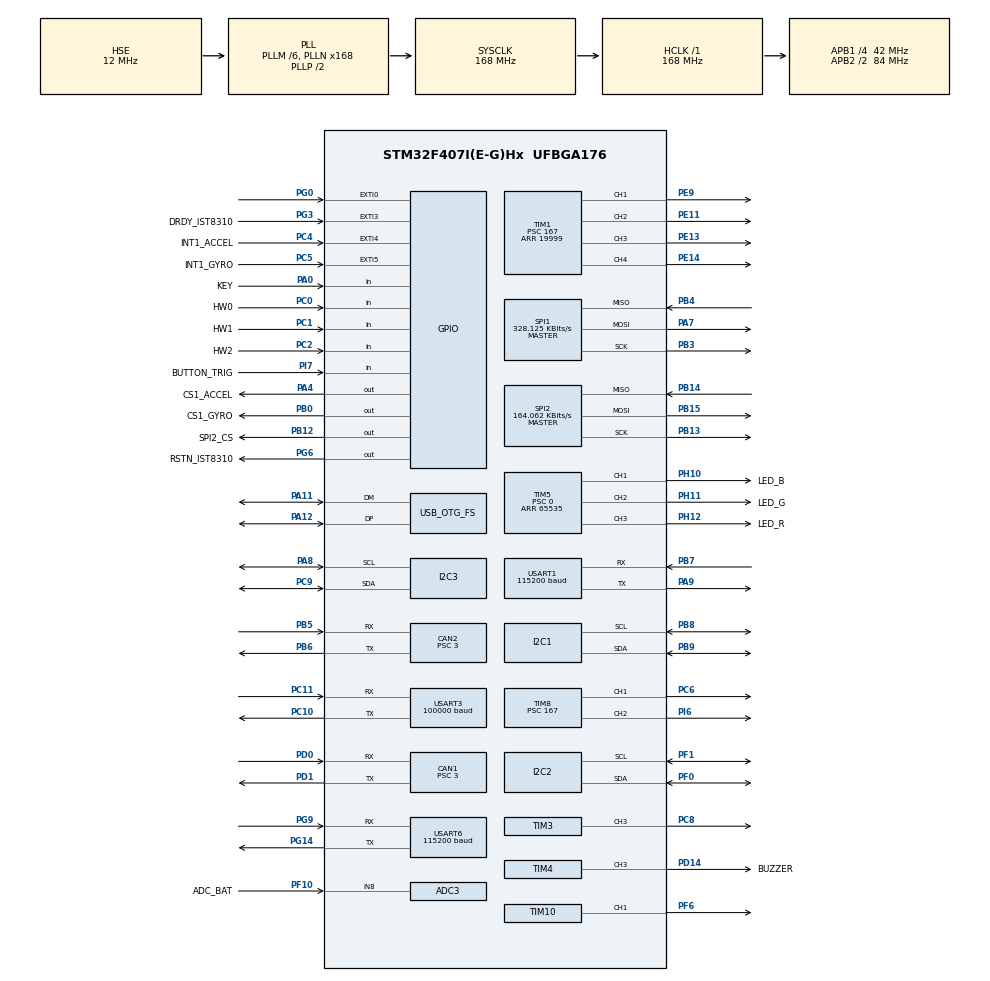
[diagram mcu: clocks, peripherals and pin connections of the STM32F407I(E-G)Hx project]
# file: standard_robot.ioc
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ADC1.Channel-0\#ChannelRegularConversion=ADC_CHANNEL_TEMPSENSOR
ADC1.ClockPrescaler=ADC_CLOCK_SYNC_PCLK_DIV6
ADC1.NbrOfConversionFlag=1
ADC1.Rank-0\#ChannelRegularConversion=1
ADC1.SamplingTime-0\#ChannelRegularConversion=ADC_SAMPLETIME_3CYCLES
ADC1.master=1
ADC3.Channel-0\#ChannelRegularConversion=ADC_CHANNEL_8
ADC3.ClockPrescaler=ADC_CLOCK_SYNC_PCLK_DIV6
ADC3.NbrOfConversionFlag=1
ADC3.Rank-0\#ChannelRegularConversion=1
ADC3.SamplingTime-0\#ChannelRegularConversion=ADC_SAMPLETIME_3CYCLES
CAN1.BS1=CAN_BS1_10TQ
CAN1.BS2=CAN_BS2_3TQ
CAN1.CalculateTimeQuantum=71.42857142857143
CAN1.Prescaler=3
CAN2.BS1=CAN_BS1_10TQ
CAN2.BS2=CAN_BS2_3TQ
CAN2.CalculateTimeQuantum=71.42857142857143
CAN2.Prescaler=3
Dma.I2C2_TX.2.Direction=DMA_MEMORY_TO_PERIPH
Dma.I2C2_TX.2.FIFOMode=DMA_FIFOMODE_DISABLE
Dma.I2C2_TX.2.Instance=DMA1_Stream7
Dma.I2C2_TX.2.MemDataAlignment=DMA_MDATAALIGN_BYTE
Dma.I2C2_TX.2.MemInc=DMA_MINC_ENABLE
Dma.I2C2_TX.2.Mode=DMA_NORMAL
Dma.I2C2_TX.2.PeriphDataAlignment=DMA_PDATAALIGN_BYTE
Dma.I2C2_TX.2.PeriphInc=DMA_PINC_DISABLE
Dma.I2C2_TX.2.Priority=DMA_PRIORITY_HIGH
Dma.Request0=SPI1_RX
Dma.Request1=SPI1_TX
Dma.Request2=I2C2_TX
Dma.Request3=USART3_RX
Dma.Request4=USART6_RX
Dma.Request5=USART6_TX
Dma.Request6=USART1_TX
Dma.Request7=USART1_RX
Dma.SPI1_RX.0.Direction=DMA_PERIPH_TO_MEMORY
Dma.SPI1_RX.0.FIFOMode=DMA_FIFOMODE_DISABLE
Dma.SPI1_RX.0.Instance=DMA2_Stream2
Dma.SPI1_RX.0.MemDataAlignment=DMA_MDATAALIGN_BYTE
Dma.SPI1_RX.0.MemInc=DMA_MINC_ENABLE
Dma.SPI1_RX.0.Mode=DMA_NORMAL
Dma.SPI1_RX.0.PeriphDataAlignment=DMA_PDATAALIGN_BYTE
Dma.SPI1_RX.0.PeriphInc=DMA_PINC_DISABLE
Dma.SPI1_RX.0.Priority=DMA_PRIORITY_VERY_HIGH
Dma.SPI1_TX.1.Direction=DMA_MEMORY_TO_PERIPH
Dma.SPI1_TX.1.FIFOMode=DMA_FIFOMODE_DISABLE
Dma.SPI1_TX.1.Instance=DMA2_Stream3
Dma.SPI1_TX.1.MemDataAlignment=DMA_MDATAALIGN_BYTE
Dma.SPI1_TX.1.MemInc=DMA_MINC_ENABLE
Dma.SPI1_TX.1.Mode=DMA_NORMAL
Dma.SPI1_TX.1.PeriphDataAlignment=DMA_PDATAALIGN_BYTE
Dma.SPI1_TX.1.PeriphInc=DMA_PINC_DISABLE
Dma.SPI1_TX.1.Priority=DMA_PRIORITY_HIGH
Dma.USART1_RX.7.Direction=DMA_PERIPH_TO_MEMORY
Dma.USART1_RX.7.FIFOMode=DMA_FIFOMODE_DISABLE
Dma.USART1_RX.7.Instance=DMA2_Stream5
Dma.USART1_RX.7.MemDataAlignment=DMA_MDATAALIGN_BYTE
Dma.USART1_RX.7.MemInc=DMA_MINC_ENABLE
Dma.USART1_RX.7.Mode=DMA_NORMAL
Dma.USART1_RX.7.PeriphDataAlignment=DMA_PDATAALIGN_BYTE
Dma.USART1_RX.7.PeriphInc=DMA_PINC_DISABLE
Dma.USART1_RX.7.Priority=DMA_PRIORITY_MEDIUM
Dma.USART1_TX.6.Direction=DMA_MEMORY_TO_PERIPH
Dma.USART1_TX.6.FIFOMode=DMA_FIFOMODE_DISABLE
Dma.USART1_TX.6.Instance=DMA2_Stream7
Dma.USART1_TX.6.MemDataAlignment=DMA_MDATAALIGN_BYTE
Dma.USART1_TX.6.MemInc=DMA_MINC_ENABLE
Dma.USART1_TX.6.Mode=DMA_NORMAL
Dma.USART1_TX.6.PeriphDataAlignment=DMA_PDATAALIGN_BYTE
Dma.USART1_TX.6.PeriphInc=DMA_PINC_DISABLE
Dma.USART1_TX.6.Priority=DMA_PRIORITY_HIGH
Dma.USART3_RX.3.Direction=DMA_PERIPH_TO_MEMORY
Dma.USART3_RX.3.FIFOMode=DMA_FIFOMODE_DISABLE
Dma.USART3_RX.3.Instance=DMA1_Stream1
Dma.USART3_RX.3.MemDataAlignment=DMA_MDATAALIGN_BYTE
Dma.USART3_RX.3.MemInc=DMA_MINC_ENABLE
Dma.USART3_RX.3.Mode=DMA_NORMAL
Dma.USART3_RX.3.PeriphDataAlignment=DMA_PDATAALIGN_BYTE
Dma.USART3_RX.3.PeriphInc=DMA_PINC_DISABLE
Dma.USART3_RX.3.Priority=DMA_PRIORITY_HIGH
Dma.USART6_RX.4.Direction=DMA_PERIPH_TO_MEMORY
Dma.USART6_RX.4.FIFOMode=DMA_FIFOMODE_DISABLE
Dma.USART6_RX.4.Instance=DMA2_Stream1
Dma.USART6_RX.4.MemDataAlignment=DMA_MDATAALIGN_BYTE
Dma.USART6_RX.4.MemInc=DMA_MINC_ENABLE
Dma.USART6_RX.4.Mode=DMA_NORMAL
Dma.USART6_RX.4.PeriphDataAlignment=DMA_PDATAALIGN_BYTE
Dma.USART6_RX.4.PeriphInc=DMA_PINC_DISABLE
Dma.USART6_RX.4.Priority=DMA_PRIORITY_HIGH
Dma.USART6_TX.5.Direction=DMA_MEMORY_TO_PERIPH
Dma.USART6_TX.5.FIFOMode=DMA_FIFOMODE_DISABLE
Dma.USART6_TX.5.Instance=DMA2_Stream6
Dma.USART6_TX.5.MemDataAlignment=DMA_MDATAALIGN_BYTE
Dma.USART6_TX.5.MemInc=DMA_MINC_ENABLE
Dma.USART6_TX.5.Mode=DMA_NORMAL
Dma.USART6_TX.5.PeriphDataAlignment=DMA_PDATAALIGN_BYTE
Dma.USART6_TX.5.PeriphInc=DMA_PINC_DISABLE
Dma.USART6_TX.5.Priority=DMA_PRIORITY_MEDIUM
FREERTOS.INCLUDE_eTaskGetState=1
FREERTOS.INCLUDE_pcTaskGetTaskName=1
FREERTOS.INCLUDE_uxTaskGetStackHighWaterMark=1
FREERTOS.INCLUDE_vTaskCleanUpResources=1
FREERTOS.INCLUDE_vTaskDelayUntil=1
FREERTOS.INCLUDE_xEventGroupSetBitFromISR=1
FREERTOS.INCLUDE_xQueueGetMutexHolder=1
FREERTOS.INCLUDE_xSemaphoreGetMutexHolder=1
FREERTOS.INCLUDE_xTaskAbortDelay=1
FREERTOS.INCLUDE_xTaskGetCurrentTaskHandle=1
FREERTOS.INCLUDE_xTaskGetHandle=1
FREERTOS.INCLUDE_xTimerPendFunctionCall=1
FREERTOS.Tasks01=test,24,128,test_task,As weak,NULL,Dynamic,NULL,NULL
FREERTOS.configTOTAL_HEAP_SIZE=24576
I2C1.I2C_Mode=I2C_Fast
I2C2.I2C_Mode=I2C_Fast
I2C3.I2C_Mode=I2C_Fast
Mcu.Family=STM32F4
Mcu.Name=STM32F407I(E-G)Hx
Mcu.Package=UFBGA176
NVIC.CAN1_RX0_IRQn=true\:6\:0\:true\:false\:true\:true\:true\:true\:true
NVIC.CAN2_RX0_IRQn=true\:6\:0\:true\:false\:true\:true\:true\:true\:true
NVIC.DMA1_Stream1_IRQn=true\:5\:0\:true\:false\:false\:true\:false\:false\:true
NVIC.DMA1_Stream7_IRQn=true\:5\:0\:true\:false\:false\:true\:false\:true\:true
NVIC.DMA2_Stream1_IRQn=true\:5\:0\:true\:false\:true\:true\:false\:true\:true
NVIC.DMA2_Stream2_IRQn=true\:5\:0\:true\:false\:false\:true\:false\:true\:true
NVIC.DMA2_Stream3_IRQn=true\:5\:0\:true\:false\:false\:true\:false\:true\:true
NVIC.DMA2_Stream5_IRQn=true\:5\:0\:false\:false\:true\:true\:false\:true\:true
NVIC.DMA2_Stream6_IRQn=true\:5\:0\:true\:false\:true\:true\:false\:true\:true
NVIC.DMA2_Stream7_IRQn=true\:5\:0\:true\:false\:true\:true\:false\:true\:true
NVIC.EXTI0_IRQn=true\:6\:0\:true\:false\:true\:true\:true\:true\:true
NVIC.EXTI3_IRQn=true\:5\:0\:true\:false\:true\:true\:true\:true\:true
NVIC.EXTI4_IRQn=true\:5\:0\:true\:false\:true\:true\:true\:true\:true
NVIC.EXTI9_5_IRQn=true\:5\:0\:true\:false\:true\:true\:true\:true\:true
NVIC.OTG_FS_IRQn=true\:5\:0\:false\:false\:true\:true\:false\:true\:true
NVIC.PriorityGroup=NVIC_PRIORITYGROUP_4
NVIC.USART1_IRQn=true\:5\:0\:false\:false\:true\:true\:true\:true\:true
NVIC.USART3_IRQn=true\:4\:0\:true\:false\:false\:false\:true\:true\:true
NVIC.USART6_IRQn=true\:5\:0\:true\:false\:true\:true\:true\:true\:true
PA0-WKUP.GPIO_Label=KEY
PA0-WKUP.GPIO_PuPd=GPIO_PULLUP
PA0-WKUP.Signal=GPIO_Input
PA11.Mode=Device_Only
PA11.Signal=USB_OTG_FS_DM
PA12.Mode=Device_Only
PA12.Signal=USB_OTG_FS_DP
PA13.Mode=Serial_Wire
PA13.Signal=SYS_JTMS-SWDIO
PA14.Mode=Serial_Wire
PA14.Signal=SYS_JTCK-SWCLK
PA4.GPIO_Label=CS1_ACCEL
PA4.GPIO_PuPd=GPIO_PULLUP
PA4.GPIO_Speed=GPIO_SPEED_FREQ_HIGH
PA4.PinState=GPIO_PIN_SET
PA4.Signal=GPIO_Output
PA7.GPIO_PuPd=GPIO_PULLUP
PA7.Mode=Full_Duplex_Master
PA7.Signal=SPI1_MOSI
PA8.Mode=I2C
PA8.Signal=I2C3_SCL
PA9.Mode=Asynchronous
PA9.Signal=USART1_TX
PB0.GPIO_Label=CS1_GYRO
PB0.GPIO_PuPd=GPIO_PULLUP
PB0.GPIO_Speed=GPIO_SPEED_FREQ_HIGH
PB0.PinState=GPIO_PIN_SET
PB0.Signal=GPIO_Output
PB12.GPIO_Label=SPI2_CS
PB12.GPIO_PuPd=GPIO_PULLUP
PB12.GPIO_Speed=GPIO_SPEED_FREQ_MEDIUM
PB12.PinState=GPIO_PIN_SET
PB12.Signal=GPIO_Output
PB13.GPIO_PuPd=GPIO_PULLUP
PB13.Mode=Full_Duplex_Master
PB13.Signal=SPI2_SCK
PB14.GPIO_PuPd=GPIO_PULLUP
PB14.Mode=Full_Duplex_Master
PB14.Signal=SPI2_MISO
PB15.GPIO_PuPd=GPIO_PULLUP
PB15.Mode=Full_Duplex_Master
PB15.Signal=SPI2_MOSI
PB3.GPIO_PuPd=GPIO_PULLUP
PB3.Mode=Full_Duplex_Master
PB3.Signal=SPI1_SCK
PB4.GPIO_PuPd=GPIO_PULLUP
PB4.Mode=Full_Duplex_Master
PB4.Signal=SPI1_MISO
PB5.Mode=Slave
PB5.Signal=CAN2_RX
PB6.Mode=Slave
PB6.Signal=CAN2_TX
PB7.Mode=Asynchronous
PB7.Signal=USART1_RX
PB8.Mode=I2C
PB8.Signal=I2C1_SCL
PB9.Mode=I2C
PB9.Signal=I2C1_SDA
PC0.GPIO_Label=HW0
PC0.Signal=GPIO_Input
PC1.GPIO_Label=HW1
PC1.Signal=GPIO_Input
PC10.Mode=Asynchronous
PC10.Signal=USART3_TX
PC11.Mode=Asynchronous
PC11.Signal=USART3_RX
PC2.GPIO_Label=HW2
PC2.Signal=GPIO_Input
PC4.GPIO_Label=INT1_ACCEL
PC4.GPIO_ModeDefaultEXTI=GPIO_MODE_IT_FALLING
PC4.GPIO_PuPd=GPIO_PULLUP
PC4.Signal=GPXTI4
PC5.GPIO_Label=INT1_GYRO
PC5.GPIO_ModeDefaultEXTI=GPIO_MODE_IT_FALLING
PC5.GPIO_PuPd=GPIO_PULLUP
PC5.Signal=GPXTI5
PC6.GPIO_PuPd=GPIO_PULLUP
PC6.GPIO_Speed=GPIO_SPEED_FREQ_HIGH
PC6.Signal=S_TIM8_CH1
PC8.GPIO_PuPd=GPIO_PULLUP
PC8.GPIO_Speed=GPIO_SPEED_FREQ_HIGH
PC8.Signal=S_TIM3_CH3
PC9.Mode=I2C
PC9.Signal=I2C3_SDA
PD0.Mode=Master
PD0.Signal=CAN1_RX
PD1.Mode=Master
PD1.Signal=CAN1_TX
PD14.GPIO_Label=BUZZER
PD14.GPIO_PuPd=GPIO_PULLUP
PD14.GPIO_Speed=GPIO_SPEED_FREQ_VERY_HIGH
PD14.Signal=S_TIM4_CH3
PE11.GPIO_PuPd=GPIO_PULLUP
PE11.GPIO_Speed=GPIO_SPEED_FREQ_HIGH
PE11.Signal=S_TIM1_CH2
PE13.GPIO_PuPd=GPIO_PULLUP
PE13.GPIO_Speed=GPIO_SPEED_FREQ_HIGH
PE13.Signal=S_TIM1_CH3
PE14.GPIO_PuPd=GPIO_PULLUP
PE14.GPIO_Speed=GPIO_SPEED_FREQ_HIGH
PE14.Signal=S_TIM1_CH4
PE9.GPIO_PuPd=GPIO_PULLUP
PE9.GPIO_Speed=GPIO_SPEED_FREQ_HIGH
PE9.Signal=S_TIM1_CH1
PF0.Mode=I2C
PF0.Signal=I2C2_SDA
PF1.Mode=I2C
PF1.Signal=I2C2_SCL
PF10.GPIO_Label=ADC_BAT
PF10.Mode=IN8
PF10.Signal=ADC3_IN8
PF6.GPIO_PuPd=GPIO_PULLUP
PF6.GPIO_Speed=GPIO_SPEED_FREQ_HIGH
PF6.Signal=S_TIM10_CH1
PG0.GPIO_ModeDefaultEXTI=GPIO_MODE_IT_FALLING
PG0.GPIO_PuPd=GPIO_PULLUP
PG0.Signal=GPXTI0
PG14.Mode=Asynchronous
PG14.Signal=USART6_TX
PG3.GPIO_Label=DRDY_IST8310
PG3.GPIO_ModeDefaultEXTI=GPIO_MODE_IT_FALLING
PG3.GPIO_PuPd=GPIO_PULLUP
PG3.Signal=GPXTI3
PG6.GPIO_Label=RSTN_IST8310
PG6.GPIO_PuPd=GPIO_PULLUP
PG6.GPIO_Speed=GPIO_SPEED_FREQ_MEDIUM
PG6.PinState=GPIO_PIN_SET
PG6.Signal=GPIO_Output
PG9.Mode=Asynchronous
PG9.Signal=USART6_RX
PH0-OSC_IN.Mode=HSE-External-Oscillator
PH0-OSC_IN.Signal=RCC_OSC_IN
PH1-OSC_OUT.Mode=HSE-External-Oscillator
PH1-OSC_OUT.Signal=RCC_OSC_OUT
PH10.GPIO_Label=LED_B
PH10.GPIO_PuPd=GPIO_PULLUP
PH10.GPIO_Speed=GPIO_SPEED_FREQ_HIGH
PH10.Signal=S_TIM5_CH1
PH11.GPIO_Label=LED_G
PH11.GPIO_PuPd=GPIO_PULLUP
PH11.GPIO_Speed=GPIO_SPEED_FREQ_HIGH
PH11.Signal=S_TIM5_CH2
PH12.GPIO_Label=LED_R
PH12.GPIO_PuPd=GPIO_PULLUP
PH12.GPIO_Speed=GPIO_SPEED_FREQ_HIGH
PH12.Signal=S_TIM5_CH3
PI6.GPIO_PuPd=GPIO_PULLUP
PI6.GPIO_Speed=GPIO_SPEED_FREQ_HIGH
PI6.Signal=S_TIM8_CH2
PI7.GPIO_Label=BUTTON_TRIG
PI7.GPIO_PuPd=GPIO_PULLUP
PI7.Signal=GPIO_Input
ProjectManager.HeapSize=0x2000
ProjectManager.StackSize=0x2000
ProjectManager.TargetToolchain=MDK-ARM V5
RCC.48MHZClocksFreq_Value=48000000
RCC.AHBFreq_Value=168000000
RCC.APB1CLKDivider=RCC_HCLK_DIV4
RCC.APB1Freq_Value=42000000
RCC.APB1TimFreq_Value=84000000
RCC.APB2CLKDivider=RCC_HCLK_DIV2
RCC.APB2Freq_Value=84000000
RCC.APB2TimFreq_Value=168000000
RCC.CortexFreq_Value=168000000
RCC.HCLKFreq_Value=168000000
RCC.HSE_VALUE=12000000
RCC.HSI_VALUE=16000000
RCC.LSE_VALUE=32768
RCC.PLLM=6
RCC.PLLN=168
RCC.PLLQ=7
RCC.RCC_RTC_Clock_SourceVirtual=RCC_RTCCLKSOURCE_HSE_DIV30
RCC.RCC_RTC_Clock_Source_FROM_HSE=RCC_RTCCLKSOURCE_HSE_DIV30
RCC.SYSCLKFreq_VALUE=168000000
RCC.SYSCLKSource=RCC_SYSCLKSOURCE_PLLCLK
RCC.VCOOutputFreq_Value=336000000
RTC.AsynchPrediv=124
RTC.SynchPrediv=3199
SH.S_TIM10_CH1.0=TIM10_CH1,PWM Generation1 CH1
SH.S_TIM1_CH1.0=TIM1_CH1,PWM Generation1 CH1
SH.S_TIM1_CH2.0=TIM1_CH2,PWM Generation2 CH2
SH.S_TIM1_CH3.0=TIM1_CH3,PWM Generation3 CH3
SH.S_TIM1_CH4.0=TIM1_CH4,PWM Generation4 CH4
SH.S_TIM3_CH3.0=TIM3_CH3,PWM Generation3 CH3
SH.S_TIM4_CH3.0=TIM4_CH3,PWM Generation3 CH3
SH.S_TIM5_CH1.0=TIM5_CH1,PWM Generation1 CH1
SH.S_TIM5_CH2.0=TIM5_CH2,PWM Generation2 CH2
SH.S_TIM5_CH3.0=TIM5_CH3,PWM Generation3 CH3
SH.S_TIM8_CH1.0=TIM8_CH1,PWM Generation1 CH1
SH.S_TIM8_CH2.0=TIM8_CH2,PWM Generation2 CH2
SPI1.BaudRatePrescaler=SPI_BAUDRATEPRESCALER_256
SPI1.CLKPhase=SPI_PHASE_2EDGE
SPI1.CLKPolarity=SPI_POLARITY_HIGH
SPI1.CalculateBaudRate=328.125 KBits/s
SPI1.Direction=SPI_DIRECTION_2LINES
SPI1.Mode=SPI_MODE_MASTER
SPI1.VirtualType=VM_MASTER
SPI2.BaudRatePrescaler=SPI_BAUDRATEPRESCALER_256
SPI2.CLKPhase=SPI_PHASE_2EDGE
SPI2.CLKPolarity=SPI_POLARITY_HIGH
SPI2.CalculateBaudRate=164.062 KBits/s
SPI2.Direction=SPI_DIRECTION_2LINES
SPI2.Mode=SPI_MODE_MASTER
SPI2.VirtualType=VM_MASTER
TIM1.Channel-PWM\ Generation1\ CH1=TIM_CHANNEL_1
TIM1.Channel-PWM\ Generation2\ CH2=TIM_CHANNEL_2
TIM1.Channel-PWM\ Generation3\ CH3=TIM_CHANNEL_3
TIM1.Channel-PWM\ Generation4\ CH4=TIM_CHANNEL_4
TIM1.Period=19999
TIM1.Prescaler=167
TIM1.Pulse-PWM\ Generation1\ CH1=1000
TIM1.Pulse-PWM\ Generation2\ CH2=1000
TIM1.Pulse-PWM\ Generation3\ CH3=1000
TIM1.Pulse-PWM\ Generation4\ CH4=1000
TIM10.Channel=TIM_CHANNEL_1
TIM10.Period=4999
TIM3.Channel-PWM\ Generation3\ CH3=TIM_CHANNEL_3
TIM3.Period=8399
TIM4.Channel-PWM\ Generation3\ CH3=TIM_CHANNEL_3
TIM4.Period=65535
TIM4.Prescaler=167
TIM5.Channel-PWM\ Generation1\ CH1=TIM_CHANNEL_1
TIM5.Channel-PWM\ Generation2\ CH2=TIM_CHANNEL_2
TIM5.Channel-PWM\ Generation3\ CH3=TIM_CHANNEL_3
TIM5.Period=65535
TIM5.Prescaler=0
TIM8.Channel-PWM\ Generation1\ CH1=TIM_CHANNEL_1
TIM8.Channel-PWM\ Generation2\ CH2=TIM_CHANNEL_2
TIM8.Period=19999
TIM8.Prescaler=167
TIM8.Pulse-PWM\ Generation1\ CH1=1000
TIM8.Pulse-PWM\ Generation2\ CH2=1000
USART1.BaudRate=115200
USART1.VirtualMode=VM_ASYNC
USART3.BaudRate=100000
USART3.Parity=PARITY_EVEN
USART3.VirtualMode=VM_ASYNC
USART6.BaudRate=115200
USART6.VirtualMode=VM_ASYNC
USB_DEVICE.CLASS_NAME_FS=CDC
USB_DEVICE.VirtualMode-CDC_FS=Cdc
USB_DEVICE.VirtualModeFS=Cdc_FS
USB_OTG_FS.VirtualMode=Device_Only
VP_ADC1_TempSens_Input.Mode=IN-TempSens
VP_ADC1_Vref_Input.Mode=IN-Vrefint
VP_CRC_VS_CRC.Mode=CRC_Activate
VP_FREERTOS_VS_CMSIS_V1.Mode=CMSIS_V1
VP_RNG_VS_RNG.Mode=RNG_Activate
VP_RTC_VS_RTC_Activate.Mode=RTC_Enabled
VP_TIM10_VS_ClockSourceINT.Mode=Enable_Timer
VP_TIM1_VS_ClockSourceINT.Mode=Internal
VP_TIM3_VS_ClockSourceINT.Mode=Internal
VP_TIM4_VS_ClockSourceINT.Mode=Internal
VP_TIM5_VS_ClockSourceINT.Mode=Internal
VP_TIM8_VS_ClockSourceINT.Mode=Internal
VP_USB_DEVICE_VS_USB_DEVICE_CDC_FS.Mode=CDC_FS
board=custom

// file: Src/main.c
/* USER CODE BEGIN Header */
/**
  ******************************************************************************
  * @file           : main.c
  * @brief          : Main program body
  ******************************************************************************
  * @attention
  *
  * <h2><center>&copy; Copyright (c) 2019 STMicroelectronics.
  * All rights reserved.</center></h2>
  *
  * This software component is licensed by ST under Ultimate Liberty license
  * SLA0044, the "License"; You may not use this file except in compliance with
  * the License. You may obtain a copy of the License at:
  *                             www.st.com/SLA0044
  *
  ******************************************************************************
  */
/* USER CODE END Header */

#include "main.h"
#include "cmsis_os.h"
#include "adc.h"
#include "can.h"
#include "crc.h"
#include "dma.h"
#include "i2c.h"
#include "rng.h"
#include "rtc.h"
#include "spi.h"
#include "tim.h"
#include "usart.h"
#include "usb_device.h"
#include "gpio.h"

/* USER CODE BEGIN Includes */
#include "bsp_can.h"
#include "bsp_delay.h"
#include "bsp_usart.h"
#include "remote_control.h"
#include "bsp_dwt.h"
#include "calibrate_task.h"
#include "chassis_task.h"
#include "detect_task.h"
#include "gimbal_task.h"
#include "INS_task.h"
#include "led_flow_task.h"
#include "oled_task.h"
#include "referee_usart_task.h"
#include "usb_task.h"
#include "voltage_task.h"
#include "bsp_usart.h"
#include "hipnuc_rx.h"	//陀螺仪接收

/* USER CODE END Includes */

void SystemClock_Config(void);
void MX_FREERTOS_Init(void);

int main(void)
{

  /* MCU Configuration--------------------------------------------------------*/

  /* Reset of all peripherals, Initializes the Flash interface and the Systick. */
  HAL_Init();

  /* Configure the system clock */
  SystemClock_Config();

  /* Initialize all configured peripherals */
  MX_GPIO_Init();
  MX_DMA_Init();
  MX_ADC1_Init();
  MX_ADC3_Init();
  MX_CAN1_Init();
  MX_CAN2_Init();
  MX_I2C1_Init();
  MX_SPI1_Init();
  MX_TIM4_Init();
  MX_TIM5_Init();
  MX_USART3_UART_Init();
  MX_TIM8_Init();
  MX_CRC_Init();
  MX_RNG_Init();
  MX_I2C2_Init();
  MX_I2C3_Init();
  MX_RTC_Init();
  MX_SPI2_Init();
  MX_TIM1_Init();
  MX_TIM3_Init();
  MX_TIM10_Init();
  MX_USART1_UART_Init();
  MX_USART6_UART_Init();
  /* USER CODE BEGIN 2 */

	MX_USB_DEVICE_Init();
    delay_init();
    can_filter_init();
//    cali_param_init();
    remote_control_init();
//	hipnuc_rx_init();      //陀螺仪串口初始化
//  usart1_tx_dma_init();
//	vision_init();

	DWT_Init(168);
    while (BMI088_init(&hspi1,0) != BMI088_NO_ERROR)
    {
        ;
    }

  /* USER CODE END 2 */

  /* Call init function for freertos objects (in freertos.c) */
  MX_FREERTOS_Init();

  /* Start scheduler */
  osKernelStart();

  /* We should never get here as control is now taken by the scheduler */

  /* Infinite loop */
  while (1)
  {

  }
}

void SystemClock_Config(void)
{
  RCC_OscInitTypeDef RCC_OscInitStruct = {0};
  RCC_ClkInitTypeDef RCC_ClkInitStruct = {0};
  RCC_PeriphCLKInitTypeDef PeriphClkInitStruct = {0};

  /** Configure the main internal regulator output voltage
  */
  __HAL_RCC_PWR_CLK_ENABLE();
  __HAL_PWR_VOLTAGESCALING_CONFIG(PWR_REGULATOR_VOLTAGE_SCALE1);
  /** Initializes the CPU, AHB and APB busses clocks
  */
  RCC_OscInitStruct.OscillatorType = RCC_OSCILLATORTYPE_HSE;
  RCC_OscInitStruct.HSEState = RCC_HSE_ON;
  RCC_OscInitStruct.PLL.PLLState = RCC_PLL_ON;
  RCC_OscInitStruct.PLL.PLLSource = RCC_PLLSOURCE_HSE;
  RCC_OscInitStruct.PLL.PLLM = 6;
  RCC_OscInitStruct.PLL.PLLN = 168;
  RCC_OscInitStruct.PLL.PLLP = RCC_PLLP_DIV2;
  RCC_OscInitStruct.PLL.PLLQ = 7;
  if (HAL_RCC_OscConfig(&RCC_OscInitStruct) != HAL_OK)
  {
    Error_Handler();
  }
  /** Initializes the CPU, AHB and APB busses clocks
  */
  RCC_ClkInitStruct.ClockType = RCC_CLOCKTYPE_HCLK|RCC_CLOCKTYPE_SYSCLK
                              |RCC_CLOCKTYPE_PCLK1|RCC_CLOCKTYPE_PCLK2;
  RCC_ClkInitStruct.SYSCLKSource = RCC_SYSCLKSOURCE_PLLCLK;
  RCC_ClkInitStruct.AHBCLKDivider = RCC_SYSCLK_DIV1;
  RCC_ClkInitStruct.APB1CLKDivider = RCC_HCLK_DIV4;
  RCC_ClkInitStruct.APB2CLKDivider = RCC_HCLK_DIV2;

  if (HAL_RCC_ClockConfig(&RCC_ClkInitStruct, FLASH_LATENCY_5) != HAL_OK)
  {
    Error_Handler();
  }
  PeriphClkInitStruct.PeriphClockSelection = RCC_PERIPHCLK_RTC;
  PeriphClkInitStruct.RTCClockSelection = RCC_RTCCLKSOURCE_HSE_DIV30;
  if (HAL_RCCEx_PeriphCLKConfig(&PeriphClkInitStruct) != HAL_OK)
  {
    Error_Handler();
  }
}

void Error_Handler(void)
{
}

/************************ (C) COPYRIGHT STMicroelectronics *****END OF FILE****/

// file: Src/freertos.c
/* USER CODE BEGIN Header */
/**
  ******************************************************************************
  * File Name          : freertos.c
  * Description        : Code for freertos applications
  ******************************************************************************
  * @attention
  *
  * <h2><center>&copy; Copyright (c) 2019 STMicroelectronics.
  * All rights reserved.</center></h2>
  *
  * This software component is licensed by ST under Ultimate Liberty license
  * SLA0044, the "License"; You may not use this file except in compliance with
  * the License. You may obtain a copy of the License at:
  *                             www.st.com/SLA0044
  *
  ******************************************************************************
  */
/* USER CODE END Header */

#include "FreeRTOS.h"
#include "task.h"
#include "main.h"
#include "cmsis_os.h"

/* USER CODE BEGIN Includes */
#include "calibrate_task.h"
#include "chassis_task.h"
#include "detect_task.h"
#include "gimbal_task.h"
#include "shoot_task.h"
#include "INS_task.h"
#include "led_flow_task.h"
#include "oled_task.h"
#include "referee_usart_task.h"
#include "usb_task.h"
#include "voltage_task.h"
#include "UI_task.h"
#include "vision_task.h"
#include "hipnuc_task.h"//НУВЭТЗКэѕЭЅвВлИООс
#include "uart_send_task.h"

/* USER CODE END Includes */

/* USER CODE BEGIN PTD */
osThreadId chassisTaskHandle;
osThreadId detect_handle;
osThreadId gimbalTaskHandle;
osThreadId shootTaskHandle;
osThreadId imuTaskHandle;
osThreadId led_RGB_flow_handle;
osThreadId oled_handle;
osThreadId referee_usart_task_handle;
osThreadId vision_task_handle;
osThreadId battery_voltage_handle;
//osThreadId servo_task_handle;
osThreadId UI_task_handle;
osThreadId UART_Send_TASKHandle;
osThreadId can_comm_task_handle;

/* USER CODE END PTD */

/* USER CODE BEGIN Variables */

void StartINSTask(void const * argument);
/* USER CODE END Variables */
osThreadId testHandle;

void test_task(void const * argument);

extern void MX_USB_DEVICE_Init(void);
void MX_FREERTOS_Init(void); /* (MISRA C 2004 rule 8.1) */

/* GetIdleTaskMemory prototype (linked to static allocation support) */
void vApplicationGetIdleTaskMemory( StaticTask_t **ppxIdleTaskTCBBuffer, StackType_t **ppxIdleTaskStackBuffer, uint32_t *pulIdleTaskStackSize );

/* GetTimerTaskMemory prototype (linked to static allocation support) */
void vApplicationGetTimerTaskMemory( StaticTask_t **ppxTimerTaskTCBBuffer, StackType_t **ppxTimerTaskStackBuffer, uint32_t *pulTimerTaskStackSize );

/* USER CODE BEGIN GET_IDLE_TASK_MEMORY */
static StaticTask_t xIdleTaskTCBBuffer;
static StackType_t xIdleStack[configMINIMAL_STACK_SIZE];

void vApplicationGetIdleTaskMemory( StaticTask_t **ppxIdleTaskTCBBuffer, StackType_t **ppxIdleTaskStackBuffer, uint32_t *pulIdleTaskStackSize )
{
  *ppxIdleTaskTCBBuffer = &xIdleTaskTCBBuffer;
  *ppxIdleTaskStackBuffer = &xIdleStack[0];
  *pulIdleTaskStackSize = configMINIMAL_STACK_SIZE;
  /* place for user code */
}
/* USER CODE END GET_IDLE_TASK_MEMORY */

/* USER CODE BEGIN GET_TIMER_TASK_MEMORY */
static StaticTask_t xTimerTaskTCBBuffer;
static StackType_t xTimerStack[configTIMER_TASK_STACK_DEPTH];

void vApplicationGetTimerTaskMemory( StaticTask_t **ppxTimerTaskTCBBuffer, StackType_t **ppxTimerTaskStackBuffer, uint32_t *pulTimerTaskStackSize )
{
  *ppxTimerTaskTCBBuffer = &xTimerTaskTCBBuffer;
  *ppxTimerTaskStackBuffer = &xTimerStack[0];
  *pulTimerTaskStackSize = configTIMER_TASK_STACK_DEPTH;
  /* place for user code */
}
/* USER CODE END GET_TIMER_TASK_MEMORY */

void MX_FREERTOS_Init(void) {

  /* USER CODE BEGIN RTOS_SEMAPHORES */
  /* add semaphores, ... */
	hipnuc_decode_semaphore = xSemaphoreCreateBinary();
if (hipnuc_decode_semaphore == NULL) {
    // Handle error
    Error_Handler();
}
  /* USER CODE END RTOS_SEMAPHORES */

  /* Create the thread(s) */
  /* definition and creation of test */
  osThreadDef(test, test_task, osPriorityNormal, 0, 128);
  testHandle = osThreadCreate(osThread(test), NULL);

  /* USER CODE BEGIN RTOS_THREADS */
  /* add threads, ... */
//	osThreadDef(CanComm, can_comm_task, osPriorityHigh, 0, 512);
//	can_comm_task_handle = osThreadCreate(osThread(CanComm), NULL);

  osThreadDef(ChassisTask, chassis_task, osPriorityAboveNormal, 0, 512);
  chassisTaskHandle = osThreadCreate(osThread(ChassisTask), NULL);

  osThreadDef(DETECT, detect_task, osPriorityNormal, 0, 256);
  detect_handle = osThreadCreate(osThread(DETECT), NULL);

  osThreadDef(INSTask, StartINSTask, osPriorityNormal, 0, 1024);
  imuTaskHandle = osThreadCreate(osThread(INSTask), NULL);

  osThreadDef(led, led_RGB_flow_task, osPriorityNormal, 0, 256);
  led_RGB_flow_handle = osThreadCreate(osThread(led), NULL);

  osThreadDef(REFEREE, referee_usart_task, osPriorityNormal, 0, 128);
  referee_usart_task_handle = osThreadCreate(osThread(REFEREE), NULL);

  osThreadDef(UI, UI_task, osPriorityNormal, 0, 512);
  UI_task_handle = osThreadCreate(osThread(UI), NULL);

  //	osThreadDef(gimbalTask, gimbal_task, osPriorityAboveNormal, 0, 512);
  //	gimbalTaskHandle = osThreadCreate(osThread(gimbalTask), NULL);

  //	osThreadDef(shootTask, shoot_task, osPriorityAboveNormal, 0, 512);
  //    shootTaskHandle = osThreadCreate(osThread(shootTask), NULL);

  //	osThreadDef(UART_Send_TASK, UART_Send_Task, osPriorityNormal, 0, 128);
  //    UART_Send_TASKHandle = osThreadCreate(osThread(UART_Send_TASK), NULL);

  //    osThreadDef(USBTask, usb_task, osPriorityNormal, 0, 128);
  //    usb_task_handle = osThreadCreate(osThread(USBTask), NULL);

  //    osThreadDef(BATTERY_VOLTAGE, battery_voltage_task, osPriorityNormal, 0, 128);
  //    battery_voltage_handle = osThreadCreate(osThread(BATTERY_VOLTAGE), NULL);

  //    osThreadDef(VISION, vision_task, osPriorityNormal, 0, 512);
  //    vision_task_handle = osThreadCreate(osThread(VISION), NULL);
  /* USER CODE END RTOS_THREADS */

}

__weak void test_task(void const * argument)
{
  /* init code for USB_DEVICE */
  MX_USB_DEVICE_Init();

  for(;;)
  {
    osDelay(1);
  }
}

/* USER CODE BEGIN Application */
void StartINSTask(void const * argument)
{
  /* USER CODE BEGIN StartINSTask */
    INS_Init();
    /* Infinite loop */
    for (;;)
    {
        INS_Task();
        osDelay(1);
    }
  /* USER CODE END StartINSTask */
}
/* USER CODE END Application */

/************************ (C) COPYRIGHT STMicroelectronics *****END OF FILE****/
